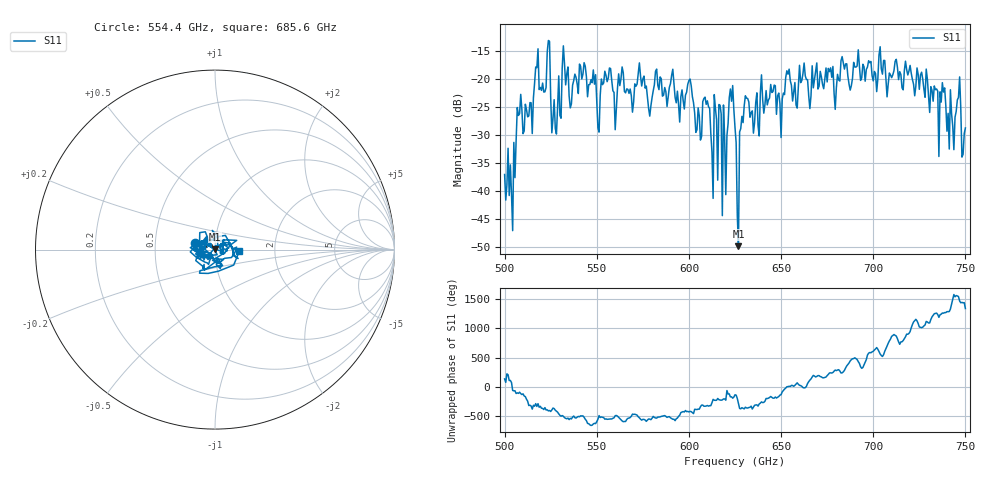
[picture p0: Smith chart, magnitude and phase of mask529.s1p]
!Created with skrf (http://scikit-rf.org).
# GHz S MA R 50.0
!freq magS11 angS11
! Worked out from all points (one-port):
!   401 points, 500 GHz to 750 GHz, reference 50 ohm
!   lowest |S11| = -49.8 dB at 626.9 GHz (marker M1), VSWR 1.01, Z = 50.1 + j0.308 ohm
!   |S11| at or under -10 dB: start of sweep to end of sweep
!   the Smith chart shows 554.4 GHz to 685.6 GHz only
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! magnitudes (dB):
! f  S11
! 500 GHz  -37.0
! 504.4 GHz  -47.0
! 508.1 GHz  -26.2
! 513.8 GHz  -24.3
! 516.9 GHz  -17.9
! 523.8 GHz  -13.2
! 526.9 GHz  -23.7
! 531.2 GHz  -18.1
! 542.5 GHz  -19.2
! 551.2 GHz  -29.5
! 562.5 GHz  -21.2
! 593.8 GHz  -22.2
! 600.6 GHz  -20.1
! 605.6 GHz  -26.6
! 609.4 GHz  -24.6
! 611.9 GHz  -29.7
! 615 GHz  -27.3
! 619.4 GHz  -30.5
! 623.1 GHz  -24.0
! 625 GHz  -28.7
! 626.9 GHz  -49.8
! 631.2 GHz  -23.5
! 656.2 GHz  -24.0
! 687.5 GHz  -22.0
! 718.8 GHz  -19.3
! 742.5 GHz  -26.2
! 746.2 GHz  -23.3
! 750 GHz  -28.8
